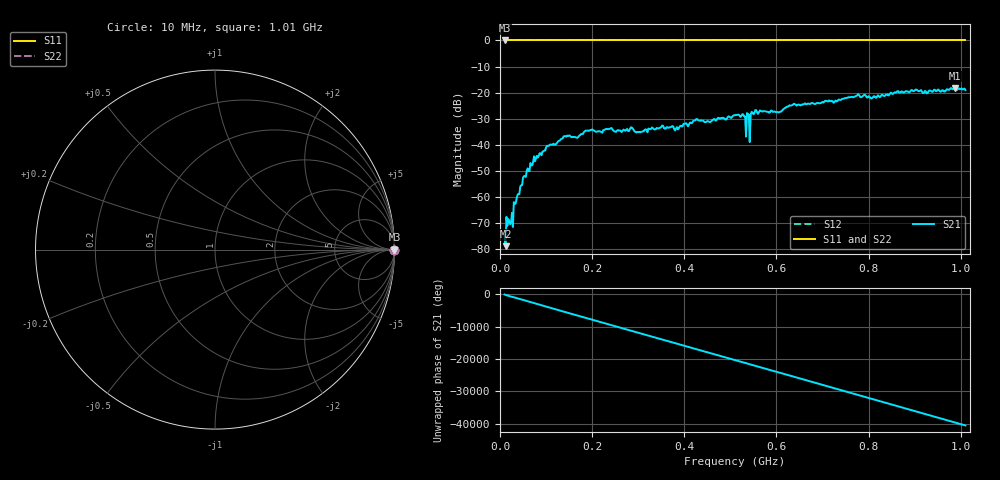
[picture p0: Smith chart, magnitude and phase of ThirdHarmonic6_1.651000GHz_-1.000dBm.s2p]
! 8/16/2025 7:46:13 PM
! C:\ANRITSUVNA\TEMP\TEMP.S2P
! CHANNEL.1
! TR.MEASUREMENT
! RAW.DATA
! RF.CORRECTION.OFF
! AVERAGING.OFF
! IF.BANDWIDTH: 5KHZ
! SWEEPTYPE:  FREQ.SWEEP(Linear)
! Reference Plane Port Info
! PORT:  PORT1  PORT2
! DISTANCE:  0  m  0  m
! TIME:  0  s  0  s
! PHASE.OFFSET:  0  deg.  0  deg.
! LOSS:  0  dB  0  dB
! REF.LOSS:  0  dB  0  dB
! REF.FREQ:  0  Hz  0  Hz
! Power Info
! POWER:  -20  dBm  -20  dBm
! EFF.POWER:  -20  dBm  -20  dBm
! SOURCE.ATTEN:  0  dB  0  dB
! TEST.ATTEN:  0  dB  0  dB
# GHZ S RI R 50.0
! FREQ.GHZ  S11RE  S11IM  S21RE  S21IM  S12RE  S12IM  S22RE  S22IM
!; PortSelection: Port_12
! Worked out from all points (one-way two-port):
!   501 points, 10 MHz to 1.01 GHz, reference 50 ohm
!   highest |S21| = -18.26 dB at 988 MHz (marker M1); lowest = -78.9 dB at 12 MHz (marker M2)
!   lowest |S11| = 0.0 dB at 10 MHz (marker M3)
!   |S11| at or under -10 dB: nowhere
!   |S22| runs from 0.0 to 0.0 dB; largest |S21 - S12| = 1.1
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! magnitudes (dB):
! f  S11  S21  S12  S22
! 10 MHz  0.0  -74.8  0.0  0.0
! 12 MHz  0.0  -78.9  0.0  0.0
! 18 MHz  0.0  -68.5  0.0  0.0
! 24 MHz  0.0  -69.8  0.0  0.0
! 34 MHz  0.0  -62.5  0.0  0.0
! 48 MHz  0.0  -55.5  0.0  0.0
! 76 MHz  0.0  -46.4  0.0  0.0
! 142 MHz  0.0  -36.7  0.0  0.0
! 178 MHz  0.0  -35.8  0.0  0.0
! 344 MHz  0.0  -33.8  0.0  0.0
! 384 MHz  0.0  -33.3  0.0  0.0
! 424 MHz  0.0  -30.7  0.0  0.0
! 510 MHz  0.0  -28.6  0.0  0.0
! 528 MHz  0.0  -28.4  0.0  0.0
! 538 MHz  0.0  -28.1  0.0  0.0
! 552 MHz  0.0  -28.0  0.0  0.0
! 606 MHz  0.0  -27.6  0.0  0.0
! 636 MHz  0.0  -24.6  0.0  0.0
! 678 MHz  0.0  -24.0  0.0  0.0
! 844 MHz  0.0  -21.0  0.0  0.0
! 988 MHz  0.0  -18.3  0.0  0.0
! 1.01 GHz  0.0  -19.0  0.0  0.0
